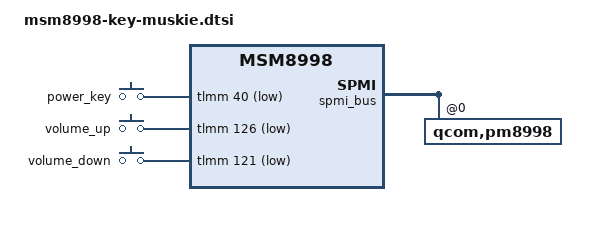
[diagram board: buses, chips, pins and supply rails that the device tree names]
&soc {
	gpio_keys {
		compatible = "gpio-keys";
		input-name = "gpio-keys";
		status = "okay";
		pinctrl-names = "tlmm_gpio_key_active","tlmm_gpio_key_suspend";
		pinctrl-0 = <&gpio_key_active>;
		pinctrl-1 = <&gpio_key_suspend>;
		use-syscore;

		power_key {
			label = "power_key";
			gpios = <&tlmm 40 0x1>;
			linux,input-type = <1>;
			linux,code = <116>;
			gpio-key,wakeup;
			debounce-interval = <20>;
		};

		vol_up {
			label = "volume_up";
			gpios = <&tlmm 126 0x1>;
			linux,input-type = <1>;
			linux,code = <115>;
			gpio-key,wakeup;
			debounce-interval = <20>;
		};

		vol_down {
			label = "volume_down";
			gpios = <&tlmm 121 0x1>;
			linux,input-type = <1>;
			linux,code = <114>;
			gpio-key,wakeup;
			debounce-interval = <20>;
		};
	};
};

&spmi_bus {
	qcom,pm8998@0 {
		qcom,power-on@800 {
			qcom,report-key = <0>;
		};
	};
};

&tlmm {
	gpio_key {
		gpio_key_active: gpio_key_active {
			mux {
				pins = "gpio40", "gpio121", "gpio126";
				function = "gpio";
			};
			config {
				pins = "gpio40", "gpio121", "gpio126";
				drive-strength = <2>;
				bias-disable;
			};
		};
		gpio_key_suspend: gpio_key_suspend {
			mux {
				pins = "gpio40", "gpio121", "gpio126";
				function = "gpio";
			};
			config {
				pins = "gpio40", "gpio121", "gpio126";
				drive-strength = <2>;
				bias-disable;
			};
		};
	};
};
